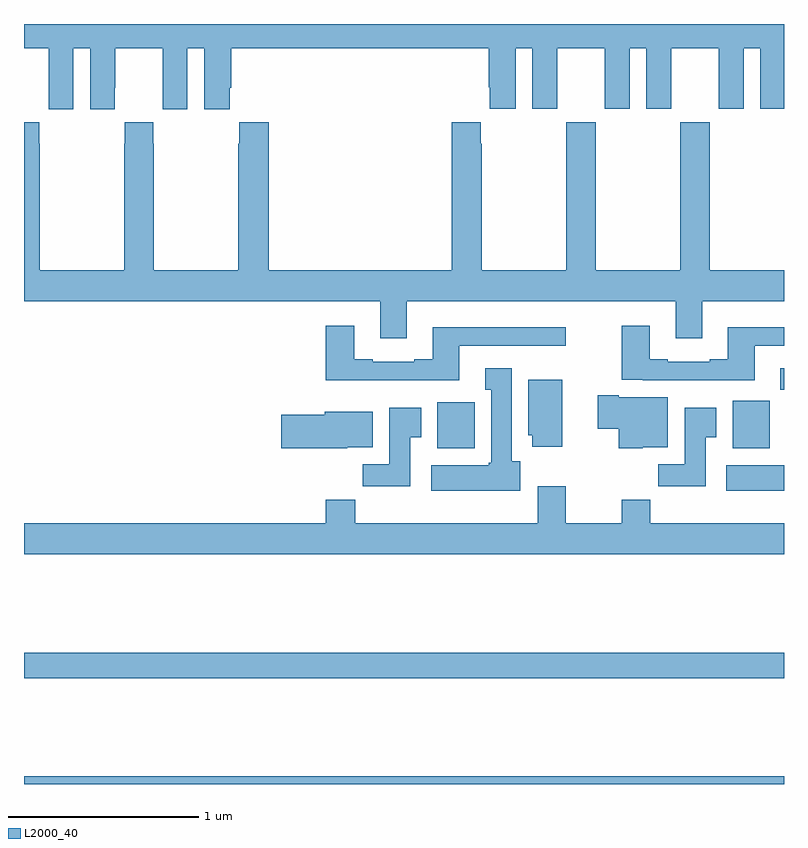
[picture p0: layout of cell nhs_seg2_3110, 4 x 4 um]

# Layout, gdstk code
import gdstk
lib = gdstk.Library(unit=1e-6, precision=1e-09)
def R(c, l, rs):  # rectangles x0, y0, x1, y1
    for r in rs: c.add(gdstk.rectangle(r[:2], r[2:], *l))
def P(c, l, *ps):  # polygons
    for p in ps: c.add(gdstk.Polygon(p, *l))
L2000_40 = (2000, 40)

nhs_seg2_3110 = lib.new_cell('nhs_seg2_3110')
R(nhs_seg2_3110, L2000_40, [(275,607.8,279,607.84), (275,608.356,279,608.492), (278.697,609.344,279,609.478), (277.175,609.566,277.372,609.808), (278.729,609.566,278.925,609.817), (278.981,609.875,279,609.988)])
P(nhs_seg2_3110, L2000_40, [(275,611.672),(275.129,611.672),(275.129,611.464),(275.13,611.464),(275.13,611.352),(275.26,611.352),(275.26,611.672),(275.348,611.672),(275.348,611.352),(275.478,611.352),(275.478,611.464),(275.479,611.464),(275.479,611.672),(275.729,611.672),(275.729,611.464),(275.73,611.464),(275.73,611.352),(275.86,611.352),(275.86,611.672),(275.948,611.672),(275.948,611.352),(276.082,611.352),(276.082,611.464),(276.092,611.464),(276.092,611.672),(277.445,611.672),(277.445,611.467),(277.451,611.467),(277.451,611.355),(277.588,611.355),(277.588,611.672),(277.676,611.672),(277.676,611.355),(277.807,611.355),(277.807,611.672),(278.057,611.672),(278.057,611.355),(278.188,611.355),(278.188,611.672),(278.276,611.672),(278.276,611.355),(278.407,611.355),(278.407,611.672),(278.657,611.672),(278.657,611.355),(278.788,611.355),(278.788,611.672),(278.876,611.672),(278.876,611.355),(279,611.355),(279,611.8),(275,611.8)],
  [(277.015,610.34),(278.429,610.34),(278.429,610.146),(278.569,610.146),(278.569,610.34),(279,610.34),(279,610.504),(278.61,610.504),(278.61,611.284),(278.455,611.284),(278.455,610.504),(278.01,610.504),(278.01,611.284),(277.855,611.284),(277.855,610.504),(277.41,610.504),(277.41,611.171),(277.405,611.171),(277.405,611.284),(277.25,611.284),(277.25,610.504),(276.287,610.504),(276.287,611.284),(276.133,611.284),(276.133,611.171),(276.127,611.171),(276.127,610.504),(275.682,610.504),(275.682,611.171),(275.679,611.171),(275.679,611.284),(275.529,611.284),(275.529,611.171),(275.527,611.171),(275.527,610.504),(275.082,610.504),(275.082,611.171),(275.079,611.171),(275.079,611.284),(275,611.284),(275,610.34),(276.875,610.34),(276.875,610.146),(277.015,610.146)],
  [(277.291,610.107),(277.852,610.107),(277.852,610.204),(277.151,610.204),(277.151,610.036),(277.055,610.036),(277.055,610.023),(276.835,610.023),(276.835,610.036),(276.739,610.036),(276.739,610.213),(276.587,610.213),(276.587,609.926),(277.291,609.926)],
  [(278.845,610.107),(279,610.107),(279,610.204),(278.705,610.204),(278.705,610.036),(278.609,610.036),(278.609,610.023),(278.389,610.023),(278.389,610.036),(278.293,610.036),(278.293,610.213),(278.146,610.213),(278.146,609.927),(278.257,609.927),(278.257,609.926),(278.845,609.926)],
  [(277.612,609.498),(277.567,609.498),(277.567,609.988),(277.427,609.988),(277.427,609.875),(277.46,609.875),(277.46,609.492),(277.447,609.492),(277.447,609.478),(277.143,609.478),(277.143,609.344),(277.612,609.344)],
  [(277.834,609.928),(277.655,609.928),(277.655,609.636),(277.676,609.636),(277.676,609.576),(277.834,609.576)],
  [(278.256,609.572),(278.389,609.572),(278.389,609.835),(278.131,609.835),(278.131,609.847),(278.019,609.847),(278.019,609.67),(278.131,609.67),(278.131,609.566),(278.256,609.566)],
  [(278.587,609.625),(278.644,609.625),(278.644,609.781),(278.477,609.781),(278.477,609.484),(278.338,609.484),(278.338,609.366),(278.587,609.366)],
  [(277.033,609.625),(277.09,609.625),(277.09,609.781),(276.923,609.781),(276.923,609.484),(276.784,609.484),(276.784,609.366),(277.033,609.366)],
  [(276.702,609.572),(276.835,609.572),(276.835,609.76),(276.584,609.76),(276.584,609.743),(276.354,609.743),(276.354,609.566),(276.702,609.566)],
  [(279,609.172),(278.297,609.172),(278.297,609.296),(278.146,609.296),(278.146,609.172),(277.851,609.172),(277.851,609.367),(277.703,609.367),(277.703,609.172),(276.743,609.172),(276.743,609.296),(276.587,609.296),(276.587,609.172),(275,609.172),(275,609.008),(279,609.008)])

lib.write_gds('nhs_seg2_3110.gds')
